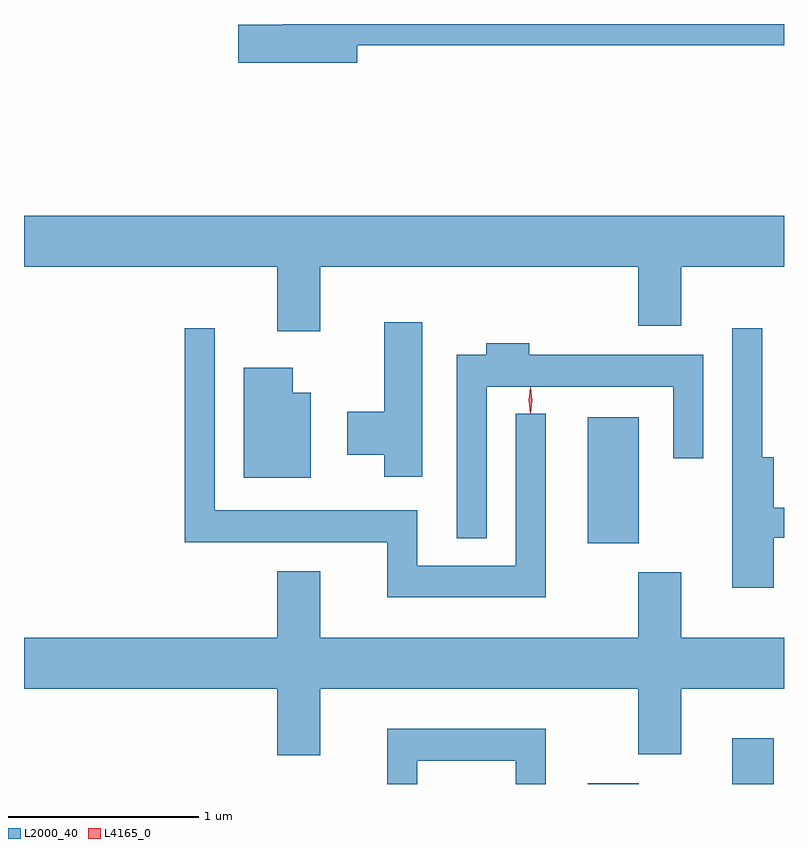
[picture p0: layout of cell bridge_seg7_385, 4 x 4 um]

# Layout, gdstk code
import gdstk
lib = gdstk.Library(unit=1e-6, precision=1e-09)
def R(c, l, rs):  # rectangles x0, y0, x1, y1
    for r in rs: c.add(gdstk.rectangle(r[:2], r[2:], *l))
def P(c, l, *ps):  # polygons
    for p in ps: c.add(gdstk.Polygon(p, *l))
L2000_40 = (2000, 40)
L4165_0 = (4165, 0)

bridge_seg7_385 = lib.new_cell('bridge_seg7_385')
R(bridge_seg7_385, L2000_40, [(1139.516,1740.454,1139.784,1740.459), (1140.276,1740.454,1140.494,1740.694), (1139.516,1741.721,1139.784,1742.384)])
P(bridge_seg7_385, L2000_40, [(1138.304,1744.341),(1140.549,1744.341),(1140.549,1744.454),(1137.911,1744.454),(1137.911,1744.449),(1137.676,1744.449),(1137.676,1744.251),(1138.304,1744.251)],
  [(1138.109,1743.176),(1139.781,1743.176),(1139.781,1742.866),(1140.009,1742.866),(1140.009,1743.176),(1140.549,1743.176),(1140.549,1743.444),(1136.549,1743.444),(1136.549,1743.176),(1137.881,1743.176),(1137.881,1742.836),(1138.109,1742.836)],
  [(1138.644,1742.884),(1138.446,1742.884),(1138.446,1742.414),(1138.251,1742.414),(1138.251,1742.186),(1138.446,1742.186),(1138.446,1742.071),(1138.644,1742.071)],
  [(1140.494,1741.751),(1140.549,1741.751),(1140.549,1741.909),(1140.494,1741.909),(1140.494,1742.174),(1140.434,1742.174),(1140.434,1742.853),(1140.276,1742.853),(1140.276,1741.486),(1140.494,1741.486)],
  [(1139.294,1742.403),(1139.136,1742.403),(1139.136,1741.604),(1138.619,1741.604),(1138.619,1741.894),(1137.554,1741.894),(1137.554,1742.853),(1137.396,1742.853),(1137.396,1741.726),(1138.461,1741.726),(1138.461,1741.436),(1139.294,1741.436)],
  [(1138.984,1742.546),(1139.966,1742.546),(1139.966,1742.168),(1140.124,1742.168),(1140.124,1742.714),(1139.209,1742.714),(1139.209,1742.774),(1138.981,1742.774),(1138.981,1742.714),(1138.826,1742.714),(1138.826,1741.748),(1138.984,1741.748)],
  [(1138.059,1742.514),(1137.964,1742.514),(1137.964,1742.644),(1137.706,1742.644),(1137.706,1742.066),(1138.059,1742.066)],
  [(1138.109,1740.956),(1139.781,1740.956),(1139.781,1740.611),(1140.009,1740.611),(1140.009,1740.956),(1140.549,1740.956),(1140.549,1741.224),(1140.009,1741.224),(1140.009,1741.569),(1139.781,1741.569),(1139.781,1741.224),(1138.109,1741.224),(1138.109,1741.574),(1137.881,1741.574),(1137.881,1741.224),(1136.549,1741.224),(1136.549,1740.956),(1137.881,1740.956),(1137.881,1740.606),(1138.109,1740.606)],
  [(1138.619,1740.576),(1139.136,1740.576),(1139.136,1740.454),(1139.294,1740.454),(1139.294,1740.744),(1138.461,1740.744),(1138.461,1740.454),(1138.619,1740.454)])
P(bridge_seg7_385, L4165_0, [(1139.214,1742.404),(1139.205,1742.473),(1139.214,1742.543),(1139.215,1742.543),(1139.215,1742.543),(1139.225,1742.473),(1139.215,1742.404),(1139.215,1742.404)],
  [(1139.214,1742.407),(1139.205,1742.474),(1139.214,1742.54),(1139.215,1742.541),(1139.215,1742.54),(1139.225,1742.474),(1139.215,1742.407),(1139.215,1742.407)])

lib.write_gds('bridge_seg7_385.gds')
